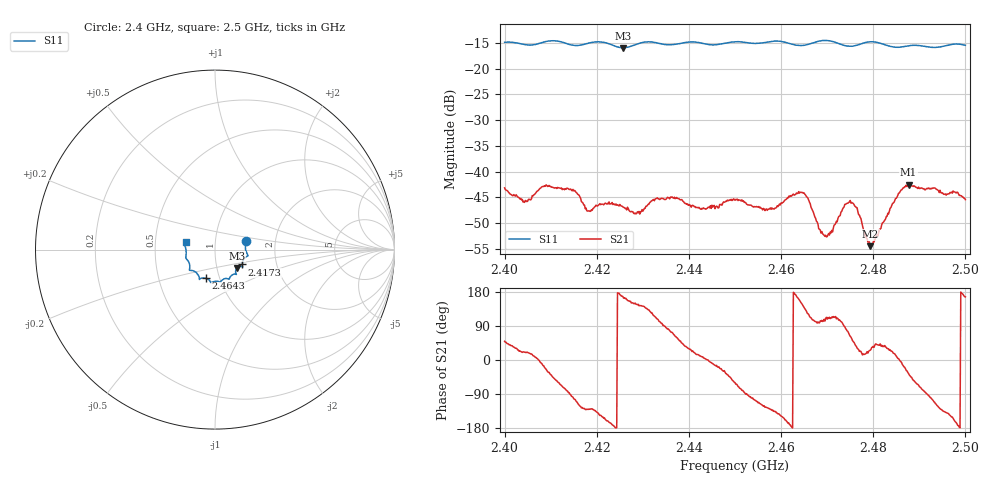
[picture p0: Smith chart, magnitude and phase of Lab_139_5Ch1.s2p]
# Hz S RI R 50
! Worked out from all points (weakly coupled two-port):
!   601 points, 2.4 GHz to 2.5 GHz, reference 50 ohm
!   highest |S21| = -42.55 dB at 2.4877 GHz (marker M1); lowest = -54.5 dB at 2.4793 GHz (marker M2)
!   lowest |S11| = -15.9 dB at 2.4257 GHz (marker M3), VSWR 1.38, Z = 62.4 - j13.1 ohm
!   |S11| at or under -10 dB: start of sweep to end of sweep
!   S12 and S22 are empty: the file has one direction only
!   S11 on the Smith chart (normalised r, x): 2.4 GHz: 1.41, +0.14; 2.4173 GHz: 1.34, -0.23; 2.4643 GHz: 0.86, -0.28; 2.5 GHz: 0.72, +0.06
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2.4e9  0.1736 0.0492  0.00452 0.00527  0 0  0 0
2.4045e9  0.1701 0.019  0.00492 0.00182  0 0  0 0
2.409167e9  0.1823 -0.0294  0.00651 -0.00336  0 0  0 0
2.414833e9  0.1599 -0.0544  -0.000942 -0.00665  0 0  0 0
2.416667e9  0.1526 -0.0751  -0.00302 -0.00413  0 0  0 0
2.417333e9  0.152 -0.0826  -0.0029 -0.00373  0 0  0 0
2.425667e9  0.1224 -0.1025  -0.00443 0.000993  0 0  0 0
2.428833e9  0.1156 -0.1305  -0.00337 0.00228  0 0  0 0
2.433333e9  0.1126 -0.1365  -0.00152 0.00521  0 0  0 0
2.443167e9  0.0684 -0.1616  0.00442 0.000425  0 0  0 0
2.45e9  0.0295 -0.1807  0.00266 -0.00455  0 0  0 0
2.457e9  -0.0139 -0.1811  -0.00247 -0.00339  0 0  0 0
2.464333e9  -0.0502 -0.1603  -0.00553 0.00304  0 0  0 0
2.466667e9  -0.0763 -0.1594  -0.00136 0.00412  0 0  0 0
2.468667e9  -0.0869 -0.1656  -0.000535 0.00247  0 0  0 0
2.47e9  -0.0873 -0.1663  -0.000713 0.00222  0 0  0 0
2.473833e9  -0.0961 -0.1376  0.000183 0.00481  0 0  0 0
2.475333e9  -0.1097 -0.1237  0.00277 0.00418  0 0  0 0
2.479333e9  -0.1421 -0.1149  0.0017 0.000815  0 0  0 0
2.483333e9  -0.1405 -0.0895  0.00337 0.00192  0 0  0 0
2.487667e9  -0.1589 -0.0527  0.00605 -0.00436  0 0  0 0
2.5e9  -0.1636 0.0418  -0.00519 0.00125  0 0  0 0
